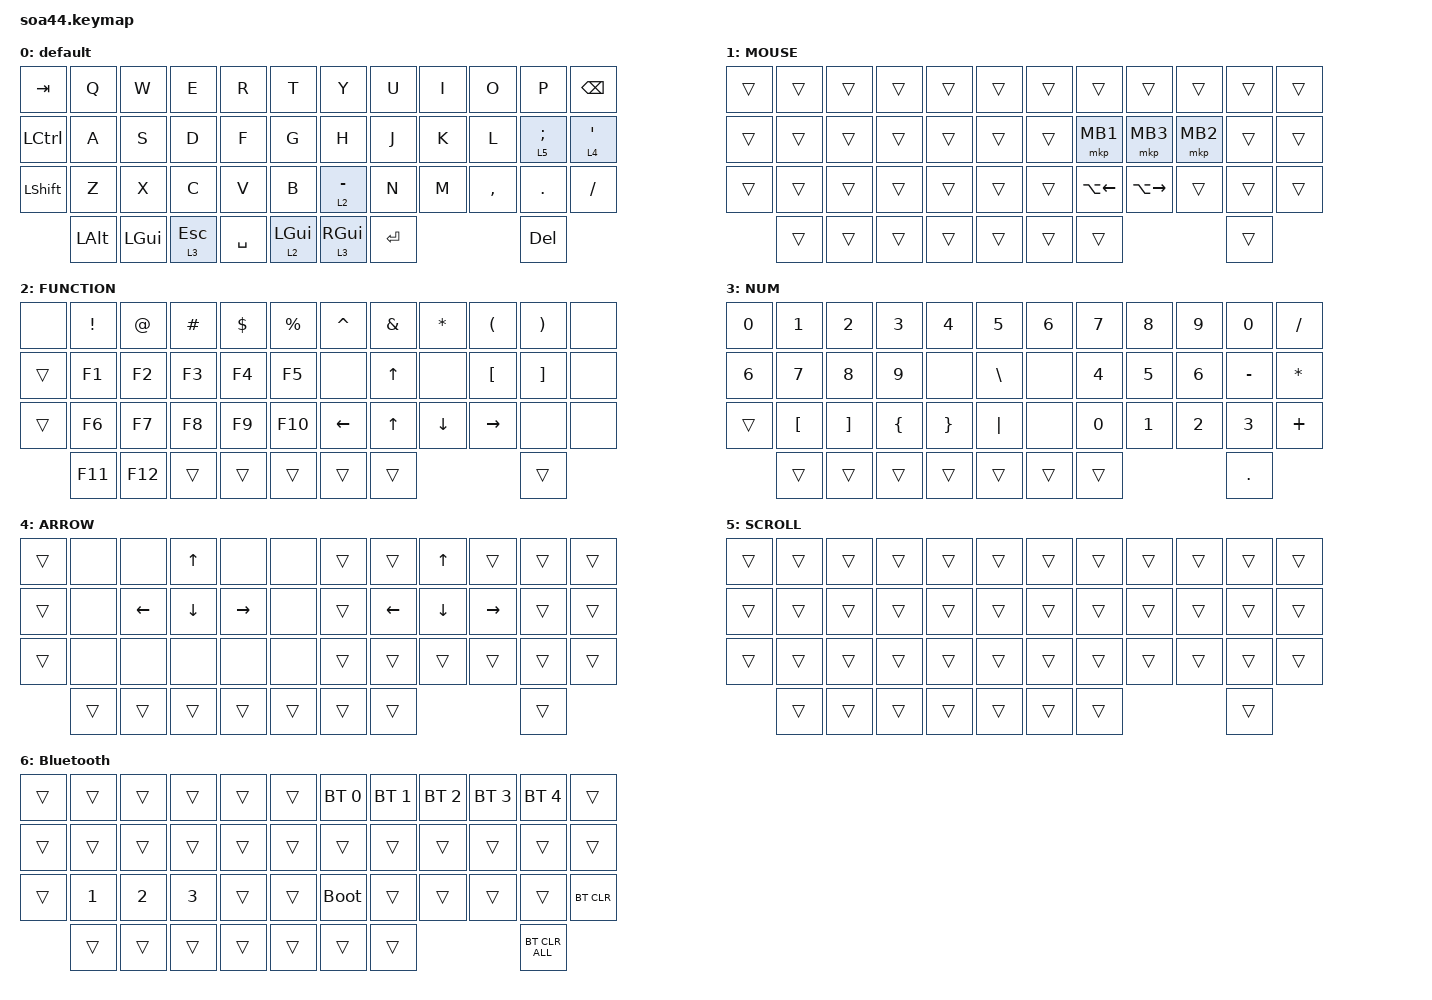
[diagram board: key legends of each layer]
#include <behaviors/rgbled_widget.dtsi>
#include <behaviors.dtsi>
#include <dt-bindings/zmk/bt.h>
#include <dt-bindings/zmk/keys.h>
#include <dt-bindings/zmk/pointing.h>

&mt {
    flavor = "balanced";
    quick-tap-ms = <0>;
};

&trackball {
    automouse-layer = <1>;
    scroll-layers = <5>;

    // arrows {
    //     layers = <3>;
    //     bindings =
    //         <&kp RIGHT_ARROW>,
    //         <&kp LEFT_ARROW>,
    //         <&kp UP_ARROW>,
    //         <&kp DOWN_ARROW>;
    //     tick = <10>;
    //     wait-ms = <5>;
    //     tap-ms = <5>;
    // };
};

/ {
    combos {
        compatible = "zmk,combos";

        tab {
            bindings = <&kp TAB>;
            key-positions = <11 12>;
        };

        shift_tab {
            bindings = <&kp LS(TAB)>;
            key-positions = <12 13>;
        };

        muhennkann {
            bindings = <&to_layer_0 INT_MUHENKAN>;
            key-positions = <11 10>;
        };

        double_quotation {
            bindings = <&kp DOUBLE_QUOTES>;
            key-positions = <20 21>;
        };

        eq {
            bindings = <&kp EQUAL>;
            key-positions = <24 25>;
        };
    };

    macros {
        to_layer_0: to_layer_0 {
            compatible = "zmk,behavior-macro-one-param";
            #binding-cells = <1>;
            bindings = <&to 0 &macro_param_1to1 &kp MACRO_PLACEHOLDER>;
            label = "TO_LAYER_0";
        };
    };

    behaviors {
        lt_to_layer_0: lt_to_layer_0 {
            compatible = "zmk,behavior-hold-tap";
            label = "LAYER_TAP_TO_0";
            bindings = <&mo>, <&to_layer_0>;

            #binding-cells = <2>;
            tapping-term-ms = <200>;
        };
    };

    keymap {
        compatible = "zmk,keymap";

        default {
            bindings = <
&kp TAB         &kp Q         &kp W         &kp E      &kp R      &kp T           &kp Y            &kp U      &kp I  &kp O      &kp P       &kp BACKSPACE
&kp LCTRL       &kp A         &kp S         &kp D      &kp F      &kp G           &kp H            &kp J      &kp K  &kp L      &lt 5 SEMI  &lt 4 SINGLE_QUOTE
&kp LEFT_SHIFT  &kp Z         &kp X         &kp C      &kp V      &kp B           &lt 2 MINUS      &kp N      &kp M  &kp COMMA  &kp DOT     &kp SLASH
                &kp LEFT_ALT  &kp LEFT_GUI  &lt 3 ESC  &kp SPACE  &lt 2 LEFT_GUI  &lt 3 RIGHT_GUI  &kp ENTER                    &kp DELETE
            >;
        };

        MOUSE {
            bindings = <
&trans  &trans  &trans  &trans  &trans  &trans  &trans  &trans        &trans         &trans    &trans  &trans
&trans  &trans  &trans  &trans  &trans  &trans  &trans  &mkp MB1      &mkp MB3       &mkp MB2  &trans  &trans
&trans  &trans  &trans  &trans  &trans  &trans  &trans  &kp LA(LEFT)  &kp LA(RIGHT)  &trans    &trans  &trans
        &trans  &trans  &trans  &trans  &trans  &trans  &trans                                 &trans
            >;
        };

        FUNCTION {
            bindings = <
&none   &kp EXCLAMATION  &kp AT_SIGN  &kp HASH  &kp DOLLAR  &kp PERCENT  &kp CARET       &kp AMPERSAND  &kp ASTERISK  &kp LEFT_PARENTHESIS  &kp RIGHT_PARENTHESIS  &none
&trans  &kp F1           &kp F2       &kp F3    &kp F4      &kp F5       &none           &kp UP         &none         &kp LEFT_BRACKET      &kp RIGHT_BRACKET      &none
&trans  &kp F6           &kp F7       &kp F8    &kp F9      &kp F10      &kp LEFT_ARROW  &kp UP_ARROW   &kp DOWN      &kp RIGHT             &none                  &none
        &kp F11          &kp F12      &trans    &trans      &trans       &trans          &trans                                             &trans
            >;
        };

        NUM {
            bindings = <
&kp NUMBER_0  &kp N1            &kp N2             &kp N3          &kp N4           &kp N5         &kp N6  &kp N7  &kp N8  &kp N9  &kp N0      &kp SLASH
&kp NUMBER_6  &kp NUMBER_7      &kp NUMBER_8       &kp NUMBER_9    &none            &kp BACKSLASH  &none   &kp N4  &kp N5  &kp N6  &kp MINUS   &kp ASTERISK
&trans        &kp LEFT_BRACKET  &kp RIGHT_BRACKET  &kp LEFT_BRACE  &kp RIGHT_BRACE  &kp PIPE       &none   &kp N0  &kp N1  &kp N2  &kp N3      &kp PLUS
              &trans            &trans             &trans          &trans           &trans         &trans  &trans                  &kp PERIOD
            >;
        };

        ARROW {
            bindings = <
&trans  &none   &none     &kp UP    &none      &none   &trans  &trans          &kp UP_ARROW    &trans           &trans  &trans
&trans  &none   &kp LEFT  &kp DOWN  &kp RIGHT  &none   &trans  &kp LEFT_ARROW  &kp DOWN_ARROW  &kp RIGHT_ARROW  &trans  &trans
&trans  &none   &none     &none     &none      &none   &trans  &trans          &trans          &trans           &trans  &trans
        &trans  &trans    &trans    &trans     &trans  &trans  &trans                                           &trans
            >;
        };

        SCROLL {
            bindings = <
&trans  &trans  &trans  &trans  &trans  &trans  &trans  &trans  &trans  &trans  &trans  &trans
&trans  &trans  &trans  &trans  &trans  &trans  &trans  &trans  &trans  &trans  &trans  &trans
&trans  &trans  &trans  &trans  &trans  &trans  &trans  &trans  &trans  &trans  &trans  &trans
        &trans  &trans  &trans  &trans  &trans  &trans  &trans                  &trans
            >;
        };

        Bluetooth {
            bindings = <
&trans  &trans        &trans        &trans        &trans  &trans  &bt BT_SEL 0  &bt BT_SEL 1  &bt BT_SEL 2  &bt BT_SEL 3  &bt BT_SEL 4    &trans
&trans  &trans        &trans        &trans        &trans  &trans  &trans        &trans        &trans        &trans        &trans          &trans
&trans  &kp NUMBER_1  &kp NUMBER_2  &kp NUMBER_3  &trans  &trans  &bootloader   &trans        &trans        &trans        &trans          &bt BT_CLR
        &trans        &trans        &trans        &trans  &trans  &trans        &trans                                    &bt BT_CLR_ALL
            >;
        };
    };
};
